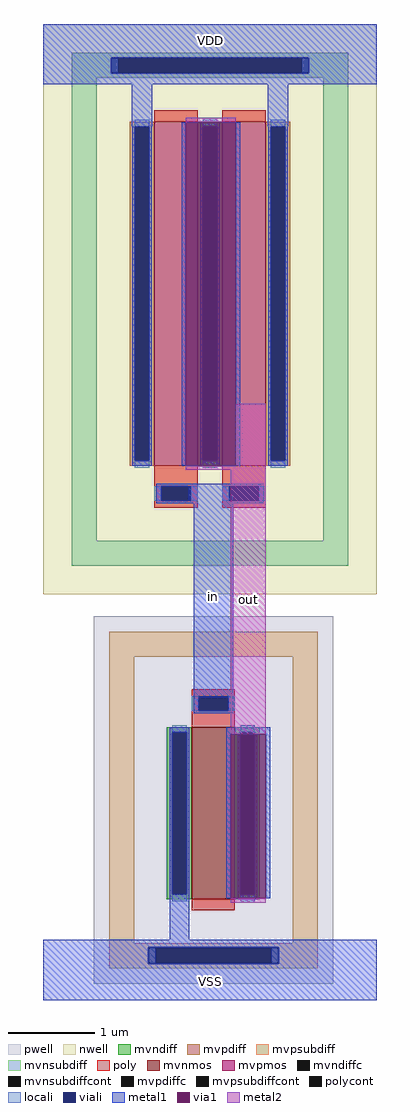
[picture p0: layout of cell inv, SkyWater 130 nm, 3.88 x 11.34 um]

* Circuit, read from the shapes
.subckt inv in out VDD VSS
XM1 out in VSS VSS sky130_fd_pr__nfet_g5v0d10v5 w=2 l=0.5
XM2 out in VDD VDD sky130_fd_pr__pfet_g5v0d10v5 w=4 l=0.5 m=2
.ends

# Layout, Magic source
magic
tech sky130A
magscale 1 2
<< nwell >>
rect 86 1006 122 1120
rect 402 1006 438 1120
<< pwell >>
rect 174 -918 208 -806
<< viali >>
rect 32 1116 492 1152
rect 118 -954 422 -916
<< metal1 >>
rect -126 1152 650 1230
rect -126 1116 32 1152
rect 492 1116 650 1152
rect -126 1090 650 1116
rect 80 992 128 1090
rect 196 204 206 1002
rect 322 204 332 1002
rect 396 992 444 1090
rect 212 134 304 162
rect 212 116 316 134
rect 224 -336 316 116
rect 300 -420 402 -404
rect 300 -802 310 -420
rect 392 -802 402 -420
rect 168 -898 214 -802
rect -126 -916 650 -898
rect -126 -954 118 -916
rect 422 -954 650 -916
rect -126 -1038 650 -954
<< via1 >>
rect 206 204 322 1002
rect 310 -802 392 -420
<< metal2 >>
rect 206 1002 322 1012
rect 322 204 392 348
rect 206 194 392 204
rect 310 -420 392 194
rect 310 -812 392 -802
use sky130_fd_pr__nfet_g5v0d10v5_H9JWFY  sky130_fd_pr__nfet_g5v0d10v5_H9JWFY_0
transform 1 0 270 0 1 -573
box -278 -427 278 427
use sky130_fd_pr__pfet_g5v0d10v5_5AEDG4  sky130_fd_pr__pfet_g5v0d10v5_5AEDG4_0
transform -1 0 262 0 1 567
box -387 -662 387 662
<< labels >>
rlabel metal1 -126 1152 650 1230 1 VDD
port 3 n default input
rlabel metal1 -126 -1038 650 -954 1 VSS
port 4 n
rlabel metal1 224 -336 316 134 1 in
port 1 n
rlabel metal2 310 -420 392 204 1 out
port 2 n
<< end >>

# cell sky130_fd_pr__nfet_g5v0d10v5_H9JWFY: kit device sky130_fd_pr__nfet_g5v0d10v5, w 2 l 0.50 m 1 nf 1 diffcov 100 polycov 100 guard 1 glc 0 grc 0 gtc 0 gbc 1 tbcov 100 rlcov 100 topc 1 botc 0 poverlap 0 doverlap 1 lmin 0.50 wmin 0.42 compatible {sky130_fd_pr__nfet_01v8 sky130_fd_pr__nfet_01v8_lvt sky130_fd_bs_flash__special_sonosfet_star sky130_fd_pr__nfet_g5v0d10v5 sky130_fd_pr__nfet_05v0_nvt sky130_fd_pr__nfet_03v3_nvt} full_metal 0 viasrc 100 viadrn 100 viagate 100 viagb 0 viagr 0 viagl 0 viagt 0

# cell sky130_fd_pr__pfet_g5v0d10v5_5AEDG4: kit device sky130_fd_pr__pfet_g5v0d10v5, w 4 l 0.50 m 1 nf 2 diffcov 100 polycov 100 guard 1 glc 0 grc 0 gtc 1 gbc 0 tbcov 100 rlcov 100 topc 0 botc 1 poverlap 0 doverlap 1 lmin 0.50 wmin 0.42 compatible {sky130_fd_pr__pfet_01v8 sky130_fd_pr__pfet_01v8_lvt sky130_fd_pr__pfet_01v8_hvt sky130_fd_pr__pfet_g5v0d10v5} full_metal 0 viasrc 100 viadrn 100 viagate 100 viagb 0 viagr 0 viagl 0 viagt 0
